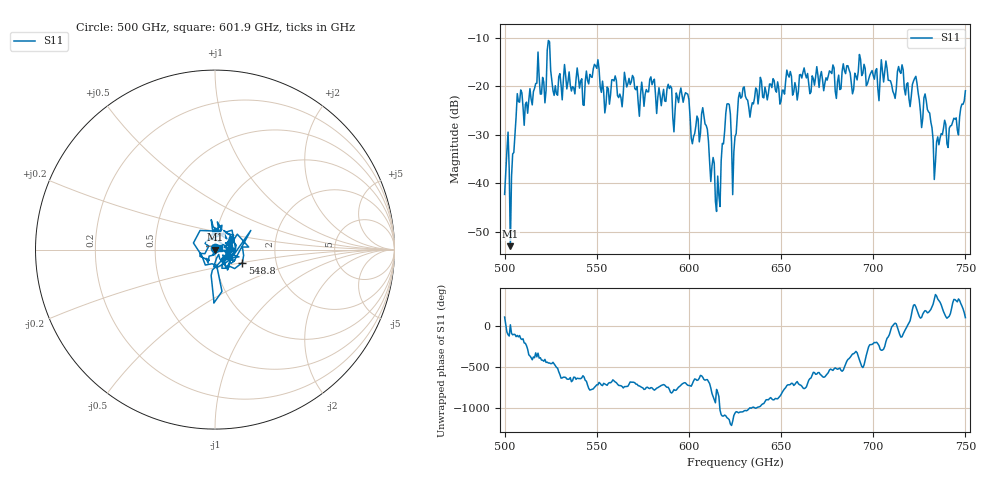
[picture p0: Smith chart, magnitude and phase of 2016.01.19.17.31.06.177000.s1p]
!Created with skrf (http://scikit-rf.org).
# GHz S RI R 50.0
!freq ReS11 ImS11
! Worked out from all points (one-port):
!   401 points, 500 GHz to 750 GHz, reference 50 ohm
!   lowest |S11| = -53.0 dB at 503.1 GHz (marker M1), VSWR 1.00, Z = 50.2 + j0.044 ohm
!   |S11| at or under -10 dB: start of sweep to end of sweep
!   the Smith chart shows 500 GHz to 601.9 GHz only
!   S11 on the Smith chart (normalised r, x): 500 GHz: 1.00, +0.01; 548.8 GHz: 1.34, -0.20; 601.9 GHz: 1.05, +0.02
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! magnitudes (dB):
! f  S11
! 500 GHz  -42.3
! 503.1 GHz  -53.0
! 508.1 GHz  -23.3
! 521.2 GHz  -19.1
! 524.4 GHz  -10.8
! 527.5 GHz  -19.9
! 531.2 GHz  -22.8
! 541.9 GHz  -18.4
! 548.8 GHz  -15.5
! 562.5 GHz  -21.6
! 568.8 GHz  -19.1
! 593.8 GHz  -22.2
! 598.8 GHz  -21.5
! 601.9 GHz  -31.9
! 608.1 GHz  -26.1
! 615.6 GHz  -38.5
! 621.2 GHz  -23.6
! 625 GHz  -30.4
! 628.8 GHz  -22.2
! 656.2 GHz  -21.8
! 687.5 GHz  -17.3
! 705.6 GHz  -19.1
! 711.2 GHz  -21.6
! 715 GHz  -17.3
! 718.8 GHz  -19.3
! 728.8 GHz  -22.9
! 734.4 GHz  -31.4
! 750 GHz  -20.9
